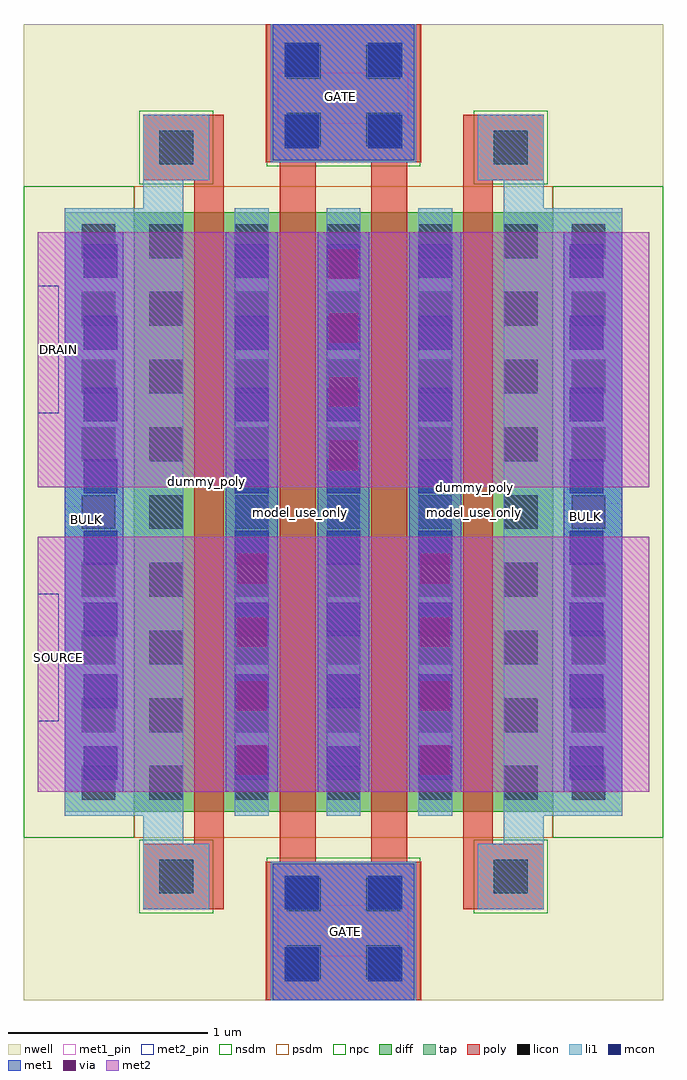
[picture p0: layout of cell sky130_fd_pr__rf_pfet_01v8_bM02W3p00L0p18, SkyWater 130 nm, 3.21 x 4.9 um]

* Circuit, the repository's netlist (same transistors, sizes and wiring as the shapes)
* Copyright 2020 The SkyWater PDK Authors
*
* Licensed under the Apache License, Version 2.0 (the "License");
* you may not use this file except in compliance with the License.
* You may obtain a copy of the License at
*
*     https://www.apache.org/licenses/LICENSE-2.0
*
* Unless required by applicable law or agreed to in writing, software
* distributed under the License is distributed on an "AS IS" BASIS,
* WITHOUT WARRANTIES OR CONDITIONS OF ANY KIND, either express or implied.
* See the License for the specific language governing permissions and
* limitations under the License.
*
* SPDX-License-Identifier: Apache-2.0


.subckt sky130_fd_pr__rf_pfet_01v8_bM02W3p00L0p18 BULK DRAIN GATE SOURCE
X0 SOURCE GATE DRAIN BULK sky130_fd_pr__pfet_01v8 w=3.01e+06u l=180000u
X1 SOURCE BULK BULK BULK sky130_fd_pr__pfet_01v8 w=3.01e+06u l=150000u
X2 BULK BULK SOURCE BULK sky130_fd_pr__pfet_01v8 w=3.01e+06u l=150000u
X3 DRAIN GATE SOURCE BULK sky130_fd_pr__pfet_01v8 w=3.01e+06u l=180000u
.ends

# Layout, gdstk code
import gdstk
lib = gdstk.Library(unit=1e-6, precision=1e-09)
def R(c, l, rs):  # rectangles x0, y0, x1, y1
    for r in rs: c.add(gdstk.rectangle(r[:2], r[2:], *l))
def A(c, l, x, y, w, h, nx, ny, dx, dy):  # array of equal rectangles
    R(c, l, [(x+i*dx, y+j*dy, x+i*dx+w, y+j*dy+h) for i in range(nx) for j in range(ny)])
nwell = (64, 20)
diff = (65, 20)
tap = (65, 44)
poly = (66, 20)
licon = (66, 44)
li1 = (67, 20)
mcon = (67, 44)
met1_pin = (68, 16)
met1 = (68, 20)
via = (68, 44)
met2_pin = (69, 16)
met2 = (69, 20)
nsdm = (93, 44)
psdm = (94, 20)
npc = (95, 20)

sky130_fd_pr__rf_pfet_01 = lib.new_cell('sky130_fd_pr__rf_pfet_01v8_bM02W3p00L0p18')
R(sky130_fd_pr__rf_pfet_01, nwell, [(0,0,3.21,4.9)])
R(sky130_fd_pr__rf_pfet_01, diff, [(0.555,0.945,2.655,3.955)])
R(sky130_fd_pr__rf_pfet_01, tap, [(0.205,0.945,0.555,3.955), (2.655,0.945,3.005,3.955)])
R(sky130_fd_pr__rf_pfet_01, poly, [(1.215,0,1.995,0.695), (0.6,0.455,0.93,0.785), (0.855,0.455,1.005,4.445), (2.205,0.455,2.355,4.445), (2.28,0.455,2.61,0.785), (1.285,0.695,1.465,4.205), (1.745,0.695,1.925,4.205), (0.6,4.115,0.93,4.445), (2.28,4.115,2.61,4.445), (1.215,4.205,1.995,4.9)])
A(sky130_fd_pr__rf_pfet_01, licon, 0.29, 1.005, 0.17, 0.17, 1, 9, 0, 0.34)
A(sky130_fd_pr__rf_pfet_01, licon, 0.63, 1.005, 0.17, 0.17, 1, 9, 0, 0.34)
A(sky130_fd_pr__rf_pfet_01, licon, 1.06, 1.005, 0.17, 0.17, 3, 9, 0.46, 0.34)
A(sky130_fd_pr__rf_pfet_01, licon, 2.41, 1.005, 0.17, 0.17, 1, 9, 0, 0.34)
A(sky130_fd_pr__rf_pfet_01, licon, 2.75, 1.005, 0.17, 0.17, 1, 9, 0, 0.34)
R(sky130_fd_pr__rf_pfet_01, licon, [(1.32,0.105,1.49,0.275), (1.72,0.105,1.89,0.275), (1.32,0.445,1.49,0.615), (1.72,0.445,1.89,0.615), (0.68,0.535,0.85,0.705), (2.36,0.535,2.53,0.705), (0.68,4.195,0.85,4.365), (2.36,4.195,2.53,4.365), (1.32,4.285,1.49,4.455), (1.72,4.285,1.89,4.455), (1.32,4.625,1.49,4.795), (1.72,4.625,1.89,4.795)])
A(sky130_fd_pr__rf_pfet_01, li1, 1.06, 0.925, 0.17, 3.05, 3, 1, 0.46, 0)
R(sky130_fd_pr__rf_pfet_01, li1, [(1.24,0,1.97,0.695), (0.6,0.455,0.93,0.785), (2.28,0.455,2.61,0.785), (0.6,0.785,0.8,0.925), (2.41,0.785,2.61,0.925), (0.205,0.925,0.8,3.975), (2.41,0.925,3.005,3.975), (0.6,3.975,0.8,4.115), (2.41,3.975,2.61,4.115), (0.6,4.115,0.93,4.445), (2.28,4.115,2.61,4.445), (1.24,4.205,1.97,4.9)])
A(sky130_fd_pr__rf_pfet_01, mcon, 0.3, 1.105, 0.17, 0.17, 1, 8, 0, 0.36)
A(sky130_fd_pr__rf_pfet_01, mcon, 1.06, 1.105, 0.17, 0.17, 3, 8, 0.46, 0.36)
A(sky130_fd_pr__rf_pfet_01, mcon, 2.74, 1.105, 0.17, 0.17, 1, 8, 0, 0.36)
R(sky130_fd_pr__rf_pfet_01, mcon, [(1.31,0.095,1.48,0.265), (1.73,0.095,1.9,0.265), (1.31,0.455,1.48,0.625), (1.73,0.455,1.9,0.625), (1.31,4.275,1.48,4.445), (1.73,4.275,1.9,4.445), (1.31,4.635,1.48,4.805), (1.73,4.635,1.9,4.805)])
R(sky130_fd_pr__rf_pfet_01, met1_pin, [(1.275,0.22,1.93,0.475), (0.205,2.33,0.5,2.48), (2.71,2.345,3.005,2.495), (1.275,4.4,1.93,4.655)])
A(sky130_fd_pr__rf_pfet_01, met1, 1.015, 1.045, 0.26, 2.81, 3, 1, 0.46, 0)
R(sky130_fd_pr__rf_pfet_01, met1, [(1.25,0,1.96,0.685), (0.205,1.045,0.5,3.855), (1.015,1.045,1.275,2.325), (1.935,1.045,2.195,2.325), (2.71,1.045,3.005,3.855), (1.475,2.575,1.735,3.855), (1.25,4.215,1.96,4.9)])
A(sky130_fd_pr__rf_pfet_01, via, 1.07, 1.13, 0.15, 0.15, 1, 4, 0, 0.32)
A(sky130_fd_pr__rf_pfet_01, via, 1.99, 1.13, 0.15, 0.15, 1, 4, 0, 0.32)
A(sky130_fd_pr__rf_pfet_01, via, 1.53, 2.66, 0.15, 0.15, 1, 4, 0, 0.32)
R(sky130_fd_pr__rf_pfet_01, met2_pin, [(0.07,1.4,0.175,2.04), (0.07,2.945,0.175,3.585)])
R(sky130_fd_pr__rf_pfet_01, met2, [(0.07,1.045,3.14,2.325), (1.015,1.045,1.275,2.325), (1.935,1.045,2.195,2.325), (0.07,2.575,3.14,3.855), (1.475,2.575,1.735,3.855)])
R(sky130_fd_pr__rf_pfet_01, nsdm, [(0,0.815,0.555,4.085), (2.655,0.815,3.21,4.085)])
R(sky130_fd_pr__rf_pfet_01, psdm, [(0.555,0.815,2.655,4.085)])
R(sky130_fd_pr__rf_pfet_01, npc, [(1.22,0,1.99,0.715), (0.58,0.435,0.95,0.805), (2.26,0.435,2.63,0.805), (0.58,4.095,0.95,4.465), (2.26,4.095,2.63,4.465), (1.22,4.185,1.99,4.9)])
sky130_fd_pr__rf_pfet_01.add(gdstk.Label('dummy_poly', (0.915,2.605), layer=83, texttype=44))
sky130_fd_pr__rf_pfet_01.add(gdstk.Label('dummy_poly', (2.265,2.575), layer=83, texttype=44))
sky130_fd_pr__rf_pfet_01.add(gdstk.Label('GATE', (1.615,0.345), layer=68, texttype=5))
sky130_fd_pr__rf_pfet_01.add(gdstk.Label('GATE', (1.59,4.535), layer=68, texttype=5))
sky130_fd_pr__rf_pfet_01.add(gdstk.Label('BULK', (0.315,2.41), layer=68, texttype=16))
sky130_fd_pr__rf_pfet_01.add(gdstk.Label('BULK', (2.82,2.425), layer=68, texttype=16))
sky130_fd_pr__rf_pfet_01.add(gdstk.Label('model_use_only', (1.39,2.45), layer=66, texttype=83))
sky130_fd_pr__rf_pfet_01.add(gdstk.Label('model_use_only', (1.82,2.45), layer=66, texttype=83))
sky130_fd_pr__rf_pfet_01.add(gdstk.Label('model_use_only', (0.915,2.45), layer=66, texttype=83))
sky130_fd_pr__rf_pfet_01.add(gdstk.Label('model_use_only', (2.265,2.45), layer=66, texttype=83))
sky130_fd_pr__rf_pfet_01.add(gdstk.Label('SOURCE', (0.175,1.72), layer=69, texttype=5))
sky130_fd_pr__rf_pfet_01.add(gdstk.Label('DRAIN', (0.175,3.265), layer=69, texttype=5))

lib.write_gds('sky130_fd_pr__rf_pfet_01v8_bM02W3p00L0p18.gds')
